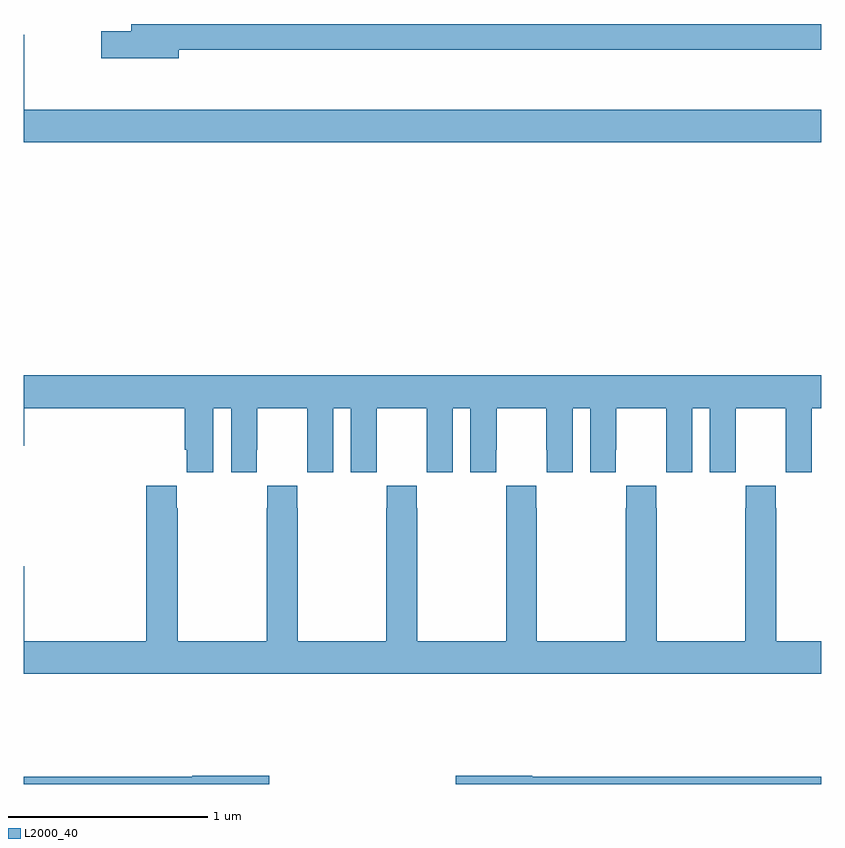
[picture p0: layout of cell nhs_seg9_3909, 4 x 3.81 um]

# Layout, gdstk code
import gdstk
lib = gdstk.Library(unit=1e-6, precision=1e-09)
def P(c, l, *ps):  # polygons
    for p in ps: c.add(gdstk.Polygon(p, *l))
L2000_40 = (2000, 40)

nhs_seg9_3909 = lib.new_cell('nhs_seg9_3909')
P(nhs_seg9_3909, L2000_40, [(333.778,1234.182),(337,1234.182),(337,1234.31),(333.539,1234.31),(333.539,1234.274),(333.39,1234.274),(333.39,1234.139),(333.778,1234.139)],
  [(337,1233.88),(333.004,1233.88),(333.004,1234.255),(333,1234.255),(333,1233.716),(337,1233.716)],
  [(333,1232.196),(333.004,1232.196),(333.004,1232.384),(333.809,1232.384),(333.809,1232.176),(333.818,1232.176),(333.818,1232.064),(333.952,1232.064),(333.952,1232.384),(334.04,1232.384),(334.04,1232.064),(334.17,1232.064),(334.17,1232.176),(334.171,1232.176),(334.171,1232.384),(334.421,1232.384),(334.421,1232.176),(334.422,1232.176),(334.422,1232.064),(334.552,1232.064),(334.552,1232.384),(334.64,1232.384),(334.64,1232.064),(334.77,1232.064),(334.77,1232.176),(334.771,1232.176),(334.771,1232.384),(335.021,1232.384),(335.021,1232.176),(335.022,1232.176),(335.022,1232.064),(335.152,1232.064),(335.152,1232.384),(335.24,1232.384),(335.24,1232.064),(335.37,1232.064),(335.37,1232.176),(335.371,1232.176),(335.371,1232.384),(335.621,1232.384),(335.621,1232.176),(335.622,1232.176),(335.622,1232.064),(335.752,1232.064),(335.752,1232.384),(335.84,1232.384),(335.84,1232.064),(335.97,1232.064),(335.97,1232.176),(335.971,1232.176),(335.971,1232.384),(336.221,1232.384),(336.221,1232.176),(336.222,1232.176),(336.222,1232.064),(336.352,1232.064),(336.352,1232.384),(336.44,1232.384),(336.44,1232.064),(336.57,1232.064),(336.57,1232.176),(336.571,1232.176),(336.571,1232.384),(336.821,1232.384),(336.821,1232.176),(336.822,1232.176),(336.822,1232.064),(336.952,1232.064),(336.952,1232.384),(337,1232.384),(337,1232.548),(333,1232.548)],
  [(334.821,1231.996),(334.821,1231.883),(334.819,1231.883),(334.819,1231.216),(334.374,1231.216),(334.374,1231.883),(334.371,1231.883),(334.371,1231.996),(334.221,1231.996),(334.221,1231.883),(334.219,1231.883),(334.219,1231.216),(333.774,1231.216),(333.774,1231.883),(333.767,1231.883),(333.767,1231.996),(333.614,1231.996),(333.614,1231.216),(333.004,1231.216),(333.004,1231.591),(333,1231.591),(333,1231.052),(337,1231.052),(337,1231.216),(336.774,1231.216),(336.774,1231.883),(336.771,1231.883),(336.771,1231.996),(336.621,1231.996),(336.621,1231.883),(336.619,1231.883),(336.619,1231.216),(336.174,1231.216),(336.174,1231.883),(336.171,1231.883),(336.171,1231.996),(336.021,1231.996),(336.021,1231.883),(336.019,1231.883),(336.019,1231.216),(335.574,1231.216),(335.574,1231.883),(335.571,1231.883),(335.571,1231.996),(335.421,1231.996),(335.421,1231.883),(335.419,1231.883),(335.419,1231.216),(334.974,1231.216),(334.974,1231.883),(334.971,1231.883),(334.971,1231.996)],
  [(337,1230.536),(335.55,1230.536),(335.55,1230.542),(335.166,1230.542),(335.166,1230.5),(337,1230.5)],
  [(334.231,1230.542),(333.846,1230.542),(333.846,1230.536),(333,1230.536),(333,1230.5),(334.231,1230.5)])

lib.write_gds('nhs_seg9_3909.gds')
